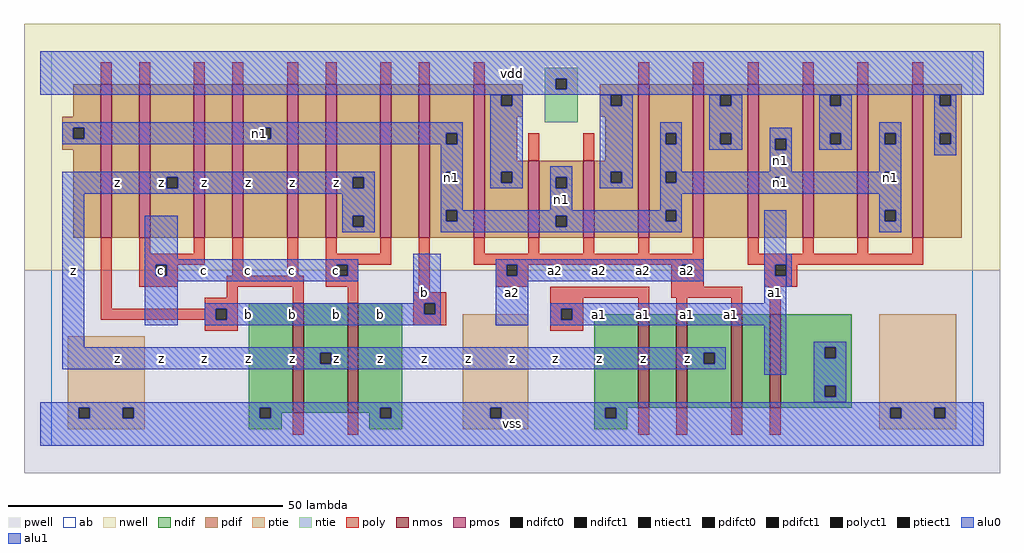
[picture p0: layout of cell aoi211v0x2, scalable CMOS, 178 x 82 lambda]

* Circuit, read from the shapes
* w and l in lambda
.subckt aoi211v0x2 a1 a2 b c n1 vdd vss z
M1 z b vss vss nfet w=20 l=2
M2 vss c z vss nfet w=20 l=2
M3 n2 a1 vss vss nfet w=17 l=2
M4 z a2 n2 vss nfet w=17 l=2
M5 n3 a2 z vss nfet w=17 l=2
M6 vss a1 n3 vss nfet w=17 l=2
M7 n4 b n1 vdd pfet w=28 l=2
M8 z c n4 vdd pfet w=28 l=2
M9 n5 c z vdd pfet w=28 l=2
M10 n1 b n5 vdd pfet w=28 l=2
M11 n6 b n1 vdd pfet w=28 l=2
M12 z c n6 vdd pfet w=28 l=2
M13 n7 c z vdd pfet w=28 l=2
M14 n1 b n7 vdd pfet w=28 l=2
M15 vdd a2 n1 vdd pfet w=28 l=2 m=3
M16 n1 a2 vdd vdd pfet w=14 l=2 m=2
M17 n1 a1 vdd vdd pfet w=28 l=2 m=4
.ends

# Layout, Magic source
magic
tech scmos
<< ab >>
rect 0 0 168 72
<< nwell >>
rect -5 32 173 77
<< pwell >>
rect -5 -5 173 32
<< poly >>
rect 9 66 11 70
rect 16 66 18 70
rect 26 66 28 70
rect 33 66 35 70
rect 43 66 45 70
rect 50 66 52 70
rect 60 66 62 70
rect 67 66 69 70
rect 77 66 79 70
rect 107 66 109 70
rect 117 66 119 70
rect 127 66 129 70
rect 137 66 139 70
rect 147 66 149 70
rect 157 66 159 70
rect 87 52 89 57
rect 97 52 99 57
rect 9 25 11 38
rect 16 35 18 38
rect 26 35 28 38
rect 16 33 28 35
rect 16 31 19 33
rect 21 31 23 33
rect 33 31 35 38
rect 43 31 45 38
rect 50 35 52 38
rect 60 35 62 38
rect 50 33 62 35
rect 50 31 52 33
rect 54 31 56 33
rect 16 29 23 31
rect 32 29 46 31
rect 50 29 56 31
rect 32 27 34 29
rect 28 25 34 27
rect 44 26 46 29
rect 54 26 56 29
rect 67 28 69 38
rect 77 35 79 38
rect 87 35 89 38
rect 97 35 99 38
rect 107 35 109 38
rect 117 35 119 38
rect 77 33 119 35
rect 127 35 129 38
rect 137 35 139 38
rect 147 35 149 38
rect 157 35 159 38
rect 127 33 159 35
rect 81 31 83 33
rect 85 31 87 33
rect 81 29 87 31
rect 113 31 115 33
rect 117 31 119 33
rect 113 29 119 31
rect 130 31 132 33
rect 134 31 136 33
rect 130 29 136 31
rect 66 26 72 28
rect 9 23 30 25
rect 32 23 34 25
rect 28 21 34 23
rect 66 24 68 26
rect 70 24 72 26
rect 91 27 109 29
rect 113 27 126 29
rect 91 25 97 27
rect 66 22 72 24
rect 44 2 46 6
rect 54 2 56 6
rect 91 23 93 25
rect 95 23 97 25
rect 107 24 109 27
rect 114 24 116 27
rect 124 24 126 27
rect 131 24 133 29
rect 91 21 97 23
rect 107 2 109 7
rect 114 2 116 7
rect 124 2 126 7
rect 131 2 133 7
<< ndif >>
rect 36 7 44 26
rect 36 5 38 7
rect 40 6 44 7
rect 46 17 54 26
rect 46 15 49 17
rect 51 15 54 17
rect 46 6 54 15
rect 56 7 64 26
rect 56 6 60 7
rect 40 5 42 6
rect 36 3 42 5
rect 58 5 60 6
rect 62 5 64 7
rect 58 3 64 5
rect 99 7 107 24
rect 109 7 114 24
rect 116 17 124 24
rect 116 15 119 17
rect 121 15 124 17
rect 116 7 124 15
rect 126 7 131 24
rect 133 18 146 24
rect 133 16 141 18
rect 143 16 146 18
rect 133 11 146 16
rect 133 9 141 11
rect 143 9 146 11
rect 133 7 146 9
rect 99 5 101 7
rect 103 5 105 7
rect 99 3 105 5
<< pdif >>
rect 4 60 9 66
rect 2 58 9 60
rect 2 56 4 58
rect 6 56 9 58
rect 2 54 9 56
rect 4 38 9 54
rect 11 38 16 66
rect 18 49 26 66
rect 18 47 21 49
rect 23 47 26 49
rect 18 38 26 47
rect 28 38 33 66
rect 35 58 43 66
rect 35 56 38 58
rect 40 56 43 58
rect 35 38 43 56
rect 45 38 50 66
rect 52 49 60 66
rect 52 47 55 49
rect 57 47 60 49
rect 52 42 60 47
rect 52 40 55 42
rect 57 40 60 42
rect 52 38 60 40
rect 62 38 67 66
rect 69 57 77 66
rect 69 55 72 57
rect 74 55 77 57
rect 69 50 77 55
rect 69 48 72 50
rect 74 48 77 50
rect 69 43 77 48
rect 69 41 72 43
rect 74 41 77 43
rect 69 38 77 41
rect 79 64 86 66
rect 79 62 82 64
rect 84 62 86 64
rect 79 60 86 62
rect 79 52 85 60
rect 100 64 107 66
rect 100 62 102 64
rect 104 62 107 64
rect 100 60 107 62
rect 101 52 107 60
rect 79 50 87 52
rect 79 48 82 50
rect 84 48 87 50
rect 79 38 87 48
rect 89 49 97 52
rect 89 47 92 49
rect 94 47 97 49
rect 89 42 97 47
rect 89 40 92 42
rect 94 40 97 42
rect 89 38 97 40
rect 99 50 107 52
rect 99 48 102 50
rect 104 48 107 50
rect 99 38 107 48
rect 109 57 117 66
rect 109 55 112 57
rect 114 55 117 57
rect 109 50 117 55
rect 109 48 112 50
rect 114 48 117 50
rect 109 43 117 48
rect 109 41 112 43
rect 114 41 117 43
rect 109 38 117 41
rect 119 64 127 66
rect 119 62 122 64
rect 124 62 127 64
rect 119 57 127 62
rect 119 55 122 57
rect 124 55 127 57
rect 119 38 127 55
rect 129 56 137 66
rect 129 54 132 56
rect 134 54 137 56
rect 129 49 137 54
rect 129 47 132 49
rect 134 47 137 49
rect 129 38 137 47
rect 139 64 147 66
rect 139 62 142 64
rect 144 62 147 64
rect 139 57 147 62
rect 139 55 142 57
rect 144 55 147 57
rect 139 38 147 55
rect 149 57 157 66
rect 149 55 152 57
rect 154 55 157 57
rect 149 50 157 55
rect 149 48 152 50
rect 154 48 157 50
rect 149 43 157 48
rect 149 41 152 43
rect 154 41 157 43
rect 149 38 157 41
rect 159 64 166 66
rect 159 62 162 64
rect 164 62 166 64
rect 159 57 166 62
rect 159 55 162 57
rect 164 55 166 57
rect 159 38 166 55
<< alu1 >>
rect -2 67 170 72
rect -2 65 92 67
rect 94 65 170 67
rect -2 64 170 65
rect 2 49 59 50
rect 2 47 21 49
rect 23 47 55 49
rect 57 47 59 49
rect 2 46 59 47
rect 2 18 6 46
rect 53 42 59 46
rect 17 34 23 42
rect 53 40 55 42
rect 57 40 59 42
rect 53 39 59 40
rect 17 33 56 34
rect 17 31 19 33
rect 21 31 52 33
rect 54 31 56 33
rect 17 30 56 31
rect 17 22 23 30
rect 66 26 71 35
rect 28 25 68 26
rect 28 23 30 25
rect 32 24 68 25
rect 70 24 71 26
rect 32 23 71 24
rect 28 22 71 23
rect 81 33 119 34
rect 81 31 83 33
rect 85 31 115 33
rect 117 31 119 33
rect 81 30 119 31
rect 130 33 134 43
rect 130 31 132 33
rect 81 22 87 30
rect 130 26 134 31
rect 91 25 134 26
rect 91 23 93 25
rect 95 23 134 25
rect 91 22 134 23
rect 2 17 123 18
rect 2 15 49 17
rect 51 15 119 17
rect 121 15 123 17
rect 2 14 123 15
rect 130 13 134 22
rect -2 7 170 8
rect -2 5 5 7
rect 7 5 13 7
rect 15 5 38 7
rect 40 5 60 7
rect 62 5 80 7
rect 82 5 101 7
rect 103 5 153 7
rect 155 5 161 7
rect 163 5 170 7
rect -2 0 170 5
<< ptie >>
rect 3 7 17 20
rect 3 5 5 7
rect 7 5 13 7
rect 15 5 17 7
rect 3 3 17 5
rect 75 7 87 24
rect 75 5 80 7
rect 82 5 87 7
rect 75 3 87 5
rect 151 7 165 24
rect 151 5 153 7
rect 155 5 161 7
rect 163 5 165 7
rect 151 3 165 5
<< ntie >>
rect 90 67 96 69
rect 90 65 92 67
rect 94 65 96 67
rect 90 59 96 65
<< nmos >>
rect 44 6 46 26
rect 54 6 56 26
rect 107 7 109 24
rect 114 7 116 24
rect 124 7 126 24
rect 131 7 133 24
<< pmos >>
rect 9 38 11 66
rect 16 38 18 66
rect 26 38 28 66
rect 33 38 35 66
rect 43 38 45 66
rect 50 38 52 66
rect 60 38 62 66
rect 67 38 69 66
rect 77 38 79 66
rect 87 38 89 52
rect 97 38 99 52
rect 107 38 109 66
rect 117 38 119 66
rect 127 38 129 66
rect 137 38 139 66
rect 147 38 149 66
rect 157 38 159 66
<< polyct1 >>
rect 19 31 21 33
rect 52 31 54 33
rect 83 31 85 33
rect 115 31 117 33
rect 132 31 134 33
rect 30 23 32 25
rect 68 24 70 26
rect 93 23 95 25
<< ndifct0 >>
rect 141 16 143 18
rect 141 9 143 11
<< ndifct1 >>
rect 38 5 40 7
rect 49 15 51 17
rect 60 5 62 7
rect 119 15 121 17
rect 101 5 103 7
<< ntiect1 >>
rect 92 65 94 67
<< ptiect1 >>
rect 5 5 7 7
rect 13 5 15 7
rect 80 5 82 7
rect 153 5 155 7
rect 161 5 163 7
<< pdifct0 >>
rect 4 56 6 58
rect 38 56 40 58
rect 72 55 74 57
rect 72 48 74 50
rect 72 41 74 43
rect 82 62 84 64
rect 102 62 104 64
rect 82 48 84 50
rect 92 47 94 49
rect 92 40 94 42
rect 102 48 104 50
rect 112 55 114 57
rect 112 48 114 50
rect 112 41 114 43
rect 122 62 124 64
rect 122 55 124 57
rect 132 54 134 56
rect 132 47 134 49
rect 142 62 144 64
rect 142 55 144 57
rect 152 55 154 57
rect 152 48 154 50
rect 152 41 154 43
rect 162 62 164 64
rect 162 55 164 57
<< pdifct1 >>
rect 21 47 23 49
rect 55 47 57 49
rect 55 40 57 42
<< alu0 >>
rect 80 62 82 64
rect 84 62 86 64
rect 2 58 75 59
rect 2 56 4 58
rect 6 56 38 58
rect 40 57 75 58
rect 40 56 72 57
rect 2 55 72 56
rect 74 55 75 57
rect 71 50 75 55
rect 71 48 72 50
rect 74 48 75 50
rect 71 43 75 48
rect 80 50 86 62
rect 100 62 102 64
rect 104 62 106 64
rect 80 48 82 50
rect 84 48 86 50
rect 80 47 86 48
rect 91 49 95 51
rect 91 47 92 49
rect 94 47 95 49
rect 100 50 106 62
rect 120 62 122 64
rect 124 62 126 64
rect 100 48 102 50
rect 104 48 106 50
rect 100 47 106 48
rect 111 57 115 59
rect 111 55 112 57
rect 114 55 115 57
rect 111 50 115 55
rect 120 57 126 62
rect 140 62 142 64
rect 144 62 146 64
rect 120 55 122 57
rect 124 55 126 57
rect 120 54 126 55
rect 131 56 135 58
rect 131 54 132 56
rect 134 54 135 56
rect 140 57 146 62
rect 161 62 162 64
rect 164 62 165 64
rect 140 55 142 57
rect 144 55 146 57
rect 140 54 146 55
rect 151 57 155 59
rect 151 55 152 57
rect 154 55 155 57
rect 131 50 135 54
rect 151 50 155 55
rect 161 57 165 62
rect 161 55 162 57
rect 164 55 165 57
rect 161 53 165 55
rect 111 48 112 50
rect 114 49 152 50
rect 114 48 132 49
rect 111 47 132 48
rect 134 48 152 49
rect 154 48 155 50
rect 134 47 155 48
rect 91 43 95 47
rect 111 46 155 47
rect 111 43 115 46
rect 151 43 155 46
rect 71 41 72 43
rect 74 42 112 43
rect 74 41 92 42
rect 71 40 92 41
rect 94 41 112 42
rect 114 41 115 43
rect 94 40 115 41
rect 71 39 115 40
rect 151 41 152 43
rect 154 41 155 43
rect 151 39 155 41
rect 134 29 135 35
rect 139 18 145 19
rect 139 16 141 18
rect 143 16 145 18
rect 139 11 145 16
rect 139 9 141 11
rect 143 9 145 11
rect 139 8 145 9
<< labels >>
rlabel pdifct0 73 49 73 49 6 n1
rlabel alu0 38 57 38 57 6 n1
rlabel alu0 93 45 93 45 6 n1
rlabel pdifct0 133 48 133 48 6 n1
rlabel pdifct0 153 49 153 49 6 n1
rlabel alu0 133 52 133 52 6 n1
rlabel alu1 28 16 28 16 6 z
rlabel alu1 20 16 20 16 6 z
rlabel alu1 12 16 12 16 6 z
rlabel alu1 4 32 4 32 6 z
rlabel alu1 28 32 28 32 6 c
rlabel polyct1 20 32 20 32 6 c
rlabel alu1 28 48 28 48 6 z
rlabel alu1 20 48 20 48 6 z
rlabel alu1 12 48 12 48 6 z
rlabel alu1 60 16 60 16 6 z
rlabel alu1 52 16 52 16 6 z
rlabel alu1 44 16 44 16 6 z
rlabel alu1 36 16 36 16 6 z
rlabel alu1 60 24 60 24 6 b
rlabel alu1 52 24 52 24 6 b
rlabel alu1 44 24 44 24 6 b
rlabel alu1 36 24 36 24 6 b
rlabel alu1 52 32 52 32 6 c
rlabel alu1 44 32 44 32 6 c
rlabel alu1 36 32 36 32 6 c
rlabel alu1 52 48 52 48 6 z
rlabel alu1 44 48 44 48 6 z
rlabel alu1 36 48 36 48 6 z
rlabel alu1 84 4 84 4 6 vss
rlabel alu1 92 16 92 16 6 z
rlabel alu1 84 16 84 16 6 z
rlabel alu1 76 16 76 16 6 z
rlabel alu1 68 16 68 16 6 z
rlabel alu1 92 32 92 32 6 a2
rlabel alu1 84 28 84 28 6 a2
rlabel alu1 68 28 68 28 6 b
rlabel alu1 84 68 84 68 6 vdd
rlabel alu1 116 16 116 16 6 z
rlabel alu1 108 16 108 16 6 z
rlabel alu1 100 16 100 16 6 z
rlabel alu1 100 24 100 24 6 a1
rlabel alu1 124 24 124 24 6 a1
rlabel alu1 116 24 116 24 6 a1
rlabel alu1 108 24 108 24 6 a1
rlabel polyct1 116 32 116 32 6 a2
rlabel alu1 108 32 108 32 6 a2
rlabel alu1 132 28 132 28 6 a1
rlabel alu1 100 32 100 32 6 a2
<< end >>
